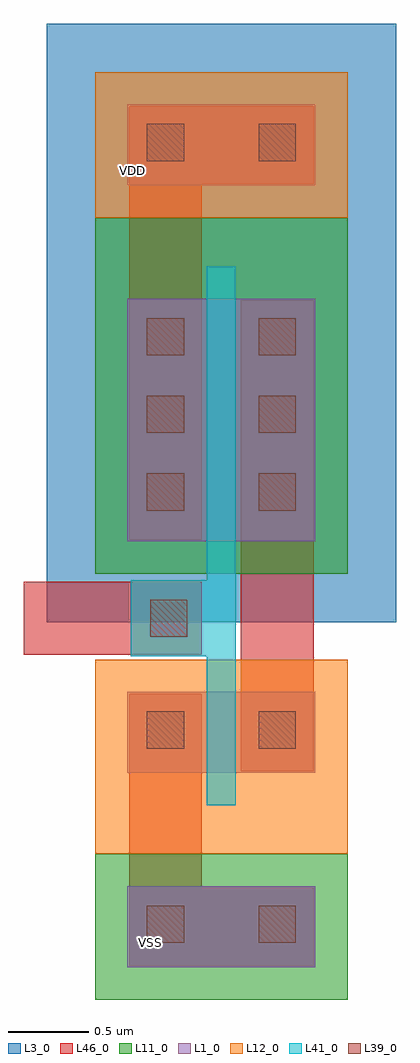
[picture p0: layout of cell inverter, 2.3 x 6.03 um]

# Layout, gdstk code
import gdstk
lib = gdstk.Library(unit=1e-6, precision=1e-09)
def R(c, l, rs):  # rectangles x0, y0, x1, y1
    for r in rs: c.add(gdstk.rectangle(r[:2], r[2:], *l))
def A(c, l, x, y, w, h, nx, ny, dx, dy):  # array of equal rectangles
    R(c, l, [(x+i*dx, y+j*dy, x+i*dx+w, y+j*dy+h) for i in range(nx) for j in range(ny)])
def P(c, l, *ps):  # polygons
    for p in ps: c.add(gdstk.Polygon(p, *l))
L1_0 = (1, 0)
L3_0 = (3, 0)
L11_0 = (11, 0)
L12_0 = (12, 0)
L39_0 = (39, 0)
L41_0 = (41, 0)
L46_0 = (46, 0)

inverter = lib.new_cell('inverter')
R(inverter, L1_0, [(0.395,-2.255,1.555,-1.755), (0.395,-1.055,1.555,-0.555), (0.395,0.375,1.555,1.875), (0.395,2.575,1.555,3.075)])
R(inverter, L3_0, [(-0.105,-0.125,2.055,3.575)])
R(inverter, L11_0, [(0.195,-2.455,1.755,-1.555), (0.195,0.175,1.755,2.375)])
R(inverter, L12_0, [(0.195,-1.555,1.755,-0.355), (0.195,2.375,1.755,3.275)])
A(inverter, L39_0, 0.515, 0.565, 0.23, 0.23, 1, 3, 0, 0.48)
A(inverter, L39_0, 1.205, 0.565, 0.23, 0.23, 1, 3, 0, 0.48)
R(inverter, L39_0, [(0.515,-2.105,0.745,-1.875), (1.205,-2.105,1.435,-1.875), (0.515,-0.905,0.745,-0.675), (1.205,-0.905,1.435,-0.675), (0.535,-0.215,0.765,0.015), (0.515,2.725,0.745,2.955), (1.205,2.725,1.435,2.955)])
P(inverter, L41_0, [(0.885,-1.255),(0.885,-0.335),(0.415,-0.335),(0.415,0.135),(0.885,0.135),(0.885,2.075),(1.065,2.075),(1.065,-1.255)])
R(inverter, L46_0, [(0.405,-2.245,1.545,-1.765), (0.405,-2.245,0.855,-0.565), (1.095,-1.045,1.545,1.865), (-0.245,-0.325,0.855,0.125), (0.405,0.385,0.855,3.065), (0.405,2.585,1.545,3.065)])
inverter.add(gdstk.Label('VDD', (0.425,2.665), layer=101, texttype=0))
inverter.add(gdstk.Label('VSS', (0.535,-2.105), layer=101, texttype=0))

lib.write_gds('inverter.gds')
